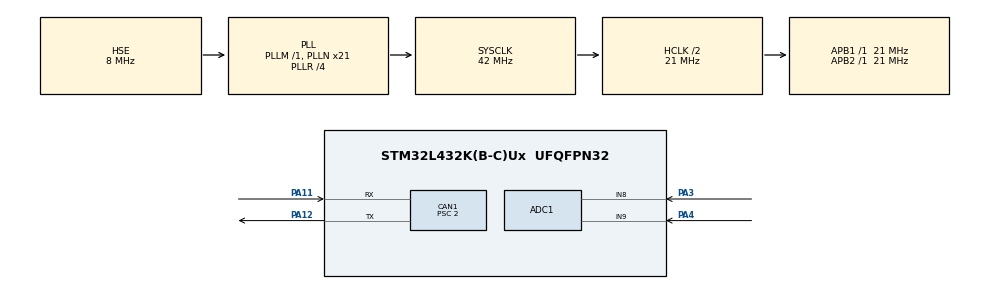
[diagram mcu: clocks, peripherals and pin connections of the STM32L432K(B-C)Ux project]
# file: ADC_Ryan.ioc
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ADC1.Channel-0\#ChannelRegularConversion=ADC_CHANNEL_9
ADC1.Channel-1\#ChannelRegularConversion=ADC_CHANNEL_8
ADC1.ClockPrescaler=ADC_CLOCK_ASYNC_DIV1
ADC1.ExternalTrigConv=ADC_EXTERNALTRIG_T1_TRGO
ADC1.NbrOfConversion=1
ADC1.NbrOfConversionFlag=1
ADC1.master=1
CAN1.BS1=CAN_BS1_12TQ
CAN1.BS2=CAN_BS2_8TQ
CAN1.CalculateBaudRate=500000
CAN1.CalculateTimeBit=2000
CAN1.CalculateTimeQuantum=95.23809523809524
CAN1.Prescaler=2
Mcu.Family=STM32L4
Mcu.Name=STM32L432K(B-C)Ux
Mcu.Package=UFQFPN32
NVIC.CAN1_RX0_IRQn=true\:0\:0\:false\:false\:true\:true\:true\:true
NVIC.PriorityGroup=NVIC_PRIORITYGROUP_4
PA0.Mode=HSE-External-Clock-Source-for-LittleOrca
PA0.Signal=RCC_CK_IN
PA11.Mode=CAN_Activate
PA11.Signal=CAN1_RX
PA12.Mode=CAN_Activate
PA12.Signal=CAN1_TX
PA3.Signal=ADCx_IN8
PA4.Signal=ADCx_IN9
ProjectManager.HeapSize=0x200
ProjectManager.StackSize=0x400
ProjectManager.TargetToolchain=MDK-ARM V5
RCC.ADCFreq_Value=12000000
RCC.AHBCLKDivider=RCC_SYSCLK_DIV2
RCC.AHBFreq_Value=21000000
RCC.APB1Freq_Value=21000000
RCC.APB1TimFreq_Value=21000000
RCC.APB2Freq_Value=21000000
RCC.APB2TimFreq_Value=21000000
RCC.CortexFreq_Value=21000000
RCC.HCLKFreq_Value=21000000
RCC.HSE_VALUE=8000000
RCC.HSI48_VALUE=48000000
RCC.HSI_VALUE=16000000
RCC.LSE_VALUE=32768
RCC.MSI_VALUE=4000000
RCC.PLLN=21
RCC.PLLR=RCC_PLLR_DIV4
RCC.PLLSAI1N=9
RCC.PLLSAI1R=RCC_PLLR_DIV6
RCC.PLLSourceVirtual=RCC_PLLSOURCE_HSE
RCC.SYSCLKFreq_VALUE=42000000
RCC.SYSCLKSource=RCC_SYSCLKSOURCE_PLLCLK
RCC.USBFreq_Value=36000000
RCC.VCOOutputFreq_Value=168000000
SH.ADCx_IN8.0=ADC1_IN8,IN8-Single-Ended
SH.ADCx_IN9.0=ADC1_IN9,IN9-Single-Ended
TIM1.Channel-PWM\ Generation1\ No\ Output=TIM_CHANNEL_1
TIM1.Period=4375
TIM1.Prescaler=1
TIM1.TIM_MasterOutputTrigger=TIM_TRGO_UPDATE
VP_TIM1_VS_no_output1.Mode=PWM Generation1 No Output
board=custom

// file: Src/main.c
/* USER CODE BEGIN Header */
/**
  ******************************************************************************
  * @file           : main.c
  * @brief          : Main program body
  ******************************************************************************
  * @attention
  *
  * Copyright (c) 2024 STMicroelectronics.
  * All rights reserved.
  *
  * This software is licensed under terms that can be found in the LICENSE file
  * in the root directory of this software component.
  * If no LICENSE file comes with this software, it is provided AS-IS.
  *
  ******************************************************************************
  */
/* USER CODE END Header */
#include "main.h"
#include "adc.h"
#include "can.h"
#include "tim.h"
#include "gpio.h"

/* USER CODE BEGIN Includes */
#include <string.h>
#include <stdio.h>
/* USER CODE END Includes */

void SystemClock_Config(void);

/* USER CODE BEGIN 0 */
uint16_t raw;
uint16_t raw2;
int i = 0;
char msg[10];
char msg2[10];
char msg3[2]= "OK";
uint8_t message[5];
uint32_t txmailbox;

void can_tx()
{
 //uint32_t detect;
 CAN_TxHeaderTypeDef txHeader;
 txHeader.StdId = 0x123;
 txHeader.IDE = CAN_ID_STD;
 txHeader.RTR = CAN_RTR_DATA;
 txHeader.DLC = 5;
 txHeader.TransmitGlobalTime = ENABLE;
 HAL_CAN_AddTxMessage(&hcan1,&txHeader,message,&txmailbox);
 /*if(HAL_CAN_AddTxMessage(&hcan1,&txHeader,message,&txmailbox) == HAL_OK)
 {
  HAL_GPIO_TogglePin(GPIOB,GPIO_PIN_3);
 }*/
 //HAL_Delay(1000);
 //detect = HAL_CAN_IsTxMessagePending(&hcan1,txmailbox);
 //HAL_UART_Transmit_IT(&huart1,(uint8_t*)detect,1);
}

/* USER CODE END 0 */

int main(void)
{

  /* MCU Configuration--------------------------------------------------------*/

  /* Reset of all peripherals, Initializes the Flash interface and the Systick. */
  HAL_Init();

  /* Configure the system clock */
  SystemClock_Config();

  /* Initialize all configured peripherals */
  MX_GPIO_Init();
  MX_ADC1_Init();
  MX_CAN1_Init();
  MX_TIM1_Init();
  /* USER CODE BEGIN 2 */
	HAL_GPIO_TogglePin(GPIOB,GPIO_PIN_3);
	HAL_CAN_Start(&hcan1);
	HAL_TIM_Base_Start(&htim1);
  /* USER CODE END 2 */

  /* Infinite loop */
  /* USER CODE BEGIN WHILE */
  while (1)
  {
		ADC_Select_CH9();
		HAL_ADC_Start(&hadc1);
    HAL_ADC_PollForConversion(&hadc1,1000);
    raw = HAL_ADC_GetValue(&hadc1);
		//sprintf(msg,"%hu\r\n",raw);
		message[1] = raw >> 8;
    message[2] = raw &0xFF;

		ADC_Select_CH8();
		HAL_ADC_Start(&hadc1);
    HAL_ADC_PollForConversion(&hadc1,1000);
    raw2 = HAL_ADC_GetValue(&hadc1);
		//sprintf(msg2,"%hu\r\n",raw2);
		message[3] = raw2 >>8;
    message[4] = raw2 &0xFF;
		message[0] = i;
		i++;
		can_tx();
		//HAL_UART_Transmit(&huart1, (uint8_t*)msg, sizeof(msg), HAL_MAX_DELAY);
		//HAL_UART_Transmit(&huart1, (uint8_t*)msg2, sizeof(msg2), HAL_MAX_DELAY);
		//HAL_UART_Transmit(&huart1, (uint8_t*)msg3, sizeof(msg3), HAL_MAX_DELAY);
		//HAL_Delay(10000);
		//HAL_UART_Transmit_IT(&huart1,(uint8_t*)msg, sizeof(msg));

    /* USER CODE END WHILE */

  }
}

void SystemClock_Config(void)
{
  RCC_OscInitTypeDef RCC_OscInitStruct = {0};
  RCC_ClkInitTypeDef RCC_ClkInitStruct = {0};

  /** Configure the main internal regulator output voltage
  */
  if (HAL_PWREx_ControlVoltageScaling(PWR_REGULATOR_VOLTAGE_SCALE1) != HAL_OK)
  {
    Error_Handler();
  }

  /** Initializes the RCC Oscillators according to the specified parameters
  * in the RCC_OscInitTypeDef structure.
  */
  RCC_OscInitStruct.OscillatorType = RCC_OSCILLATORTYPE_HSE;
  RCC_OscInitStruct.HSEState = RCC_HSE_BYPASS;
  RCC_OscInitStruct.PLL.PLLState = RCC_PLL_ON;
  RCC_OscInitStruct.PLL.PLLSource = RCC_PLLSOURCE_HSE;
  RCC_OscInitStruct.PLL.PLLM = 1;
  RCC_OscInitStruct.PLL.PLLN = 21;
  RCC_OscInitStruct.PLL.PLLP = RCC_PLLP_DIV7;
  RCC_OscInitStruct.PLL.PLLQ = RCC_PLLQ_DIV2;
  RCC_OscInitStruct.PLL.PLLR = RCC_PLLR_DIV4;
  if (HAL_RCC_OscConfig(&RCC_OscInitStruct) != HAL_OK)
  {
    Error_Handler();
  }

  /** Initializes the CPU, AHB and APB buses clocks
  */
  RCC_ClkInitStruct.ClockType = RCC_CLOCKTYPE_HCLK|RCC_CLOCKTYPE_SYSCLK
                              |RCC_CLOCKTYPE_PCLK1|RCC_CLOCKTYPE_PCLK2;
  RCC_ClkInitStruct.SYSCLKSource = RCC_SYSCLKSOURCE_PLLCLK;
  RCC_ClkInitStruct.AHBCLKDivider = RCC_SYSCLK_DIV2;
  RCC_ClkInitStruct.APB1CLKDivider = RCC_HCLK_DIV1;
  RCC_ClkInitStruct.APB2CLKDivider = RCC_HCLK_DIV1;

  if (HAL_RCC_ClockConfig(&RCC_ClkInitStruct, FLASH_LATENCY_1) != HAL_OK)
  {
    Error_Handler();
  }
}

void Error_Handler(void)
{
  __disable_irq();
  while (1)
  {
  }
}
